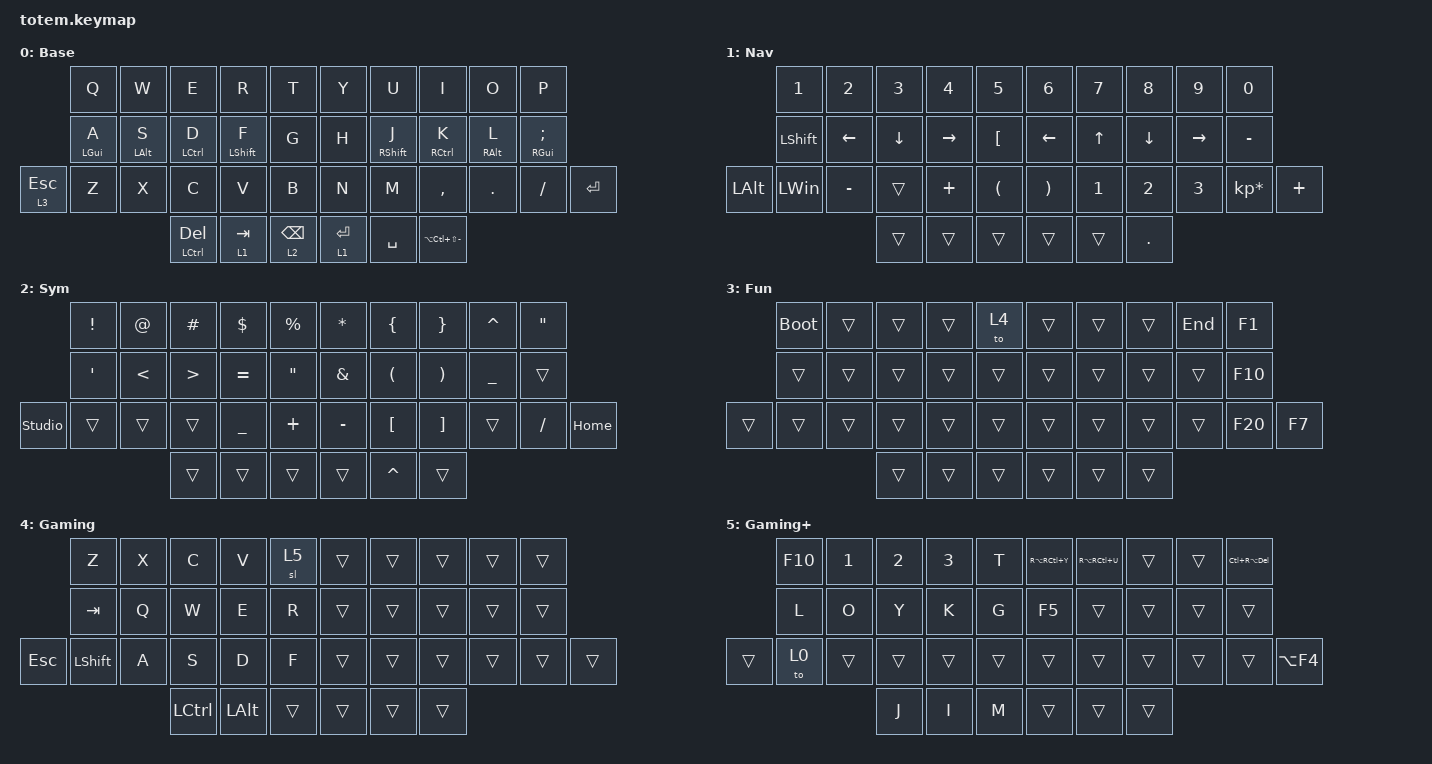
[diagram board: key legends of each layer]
//
//                                                        ▀▀▀▀▀     ▀▀▀▀▀          ▀▀█▀▀
//                                                        ▄▀▀▀▄  ▄  ▄▀▀▀▄  ▄  ▄▀▀▀▄  █  ▄▀▀▀▄
//                                                        █   █  █  █   █  █  █   █  █  █   █
//                                                         ▀▀▀   █   ▀▀▀   █   ▀▀▀   ▀   ▀▀▀
//                                                               █      ▄▄▄█▄▄▄    █   █  
//                                                               ▀      █  █  █     █▄█
//                                                             ▀▀▀▀▀    █  █  █      ▀
//                                                                      ▀  ▀  ▀
//
// ▄▄▄▄▄▄▄▄▄▄▄▄▄▄▄▄▄▄▄▄▄▄▄▄▄▄▄▄▄▄▄▄▄▄▄▄▄▄▄▄▄▄▄▄▄▄▄▄▄▄▄▄▄▄▄▄▄▄▄▄▄▄▄▄▄▄▄▄▄▄▄▄▄▄▄▄▄▄▄▄▄▄▄▄▄▄▄▄▄▄▄▄▄▄▄▄▄▄▄▄▄▄▄▄▄▄▄▄▄▄▄▄▄▄▄▄▄▄▄▄▄▄▄▄▄▄▄▄▄▄▄▄▄▄▄▄▄▄▄▄▄▄▄▄▄▄▄▄▄

#include <behaviors.dtsi>
#include <dt-bindings/zmk/keys.h>

#define Base        0
#define Nav         1
#define Sym         2
#define Fun         3
#define Game        4
#define Gameplus    5

&mt {
    quick-tap-ms = <100>;
    global-quick-tap;
    flavor = "tap-preferred";
    tapping-term-ms = <170>;
};

&lt {
    tapping-term-ms = <240>;
    flavor = "balanced";
    quick-tap-ms = <150>;
};

/ {
    behaviors {
        hm: homerow_mods {
            compatible = "zmk,behavior-hold-tap";
            label = "HOMEROW_MODS";
            #binding-cells = <2>;
            flavor = "tap-preferred";
            tapping-term-ms = <200>;
            quick-tap-ms = <125>;
            global-quick-tap;
            bindings = <&kp>, <&kp>;
        };
    };

    combos { compatible = "zmk,combos"; };

    keymap {
        compatible = "zmk,keymap";

        Base {
            display-name = "Base";
            bindings = <
              &kp Q       &kp W       &kp E          &kp R         &kp T              &kp Y        &kp U        &kp I                  &kp O       &kp P
              &hm LGUI A  &hm LALT S  &hm LCTRL D    &hm LSHIFT F  &kp G              &kp H        &hm RSHFT J  &hm RCTRL K            &hm RALT L  &hm RGUI SEMICOLON
&lt 3 ESCAPE  &kp Z       &kp X       &kp C          &kp V         &kp B              &kp N        &kp M        &kp COMMA              &kp DOT     &kp SLASH           &kp RET
                                      &mt LCTRL DEL  &lt 1 TAB     &lt 2 BACKSPACE    &lt 1 ENTER  &kp SPACE    &kp LA(LC(LS(MINUS)))
            >;
        };

        Nav {
            display-name = "Nav";
            bindings = <
              &kp N1          &kp N2     &kp N3    &kp N4     &kp N5      &kp N6    &kp NUMBER_7  &kp NUMBER_8  &kp NUMBER_9  &kp NUMBER_0
              &kp LEFT_SHIFT  &kp LEFT   &kp DOWN  &kp RIGHT  &kp LBKT    &kp LEFT  &kp UP        &kp DOWN      &kp RIGHT     &kp MINUS
&kp LEFT_ALT  &kp LEFT_WIN    &kp MINUS  &trans    &kp PLUS   &kp LPAR    &kp RPAR  &kp NUMBER_1  &kp NUMBER_2  &kp NUMBER_3  &kp KP_MULTIPLY  &kp PLUS
                                         &trans    &trans     &trans      &trans    &trans        &kp DOT
            >;
        };

        Sym {
            display-name = "Sym";
            bindings = <
                &kp EXCL          &kp AT         &kp HASH          &kp DOLLAR  &kp PERCENT          &kp ASTERISK   &kp LEFT_BRACE        &kp RIGHT_BRACE        &kp CARET       &kp DQT
                &kp SINGLE_QUOTE  &kp LESS_THAN  &kp GREATER_THAN  &kp EQUAL   &kp DOUBLE_QUOTES    &kp AMPERSAND  &kp LEFT_PARENTHESIS  &kp RIGHT_PARENTHESIS  &kp UNDERSCORE  &trans
&studio_unlock  &trans            &trans         &trans            &kp UNDER   &kp PLUS             &kp MINUS      &kp LEFT_BRACKET      &kp RIGHT_BRACKET      &trans          &kp SLASH  &kp HOME
                                                 &trans            &trans      &trans               &trans         &kp CARET             &trans
            >;
        };

        Fun {
            display-name = "Fun";
            bindings = <
        &bootloader  &trans  &trans  &trans  &to 4     &trans  &trans  &trans  &kp END  &kp F1
        &trans       &trans  &trans  &trans  &trans    &trans  &trans  &trans  &trans   &kp F10
&trans  &trans       &trans  &trans  &trans  &trans    &trans  &trans  &trans  &trans   &kp F20  &kp F7
                             &trans  &trans  &trans    &trans  &trans  &trans
            >;
        };

        Gaming {
            display-name = "Gaming";
            bindings = <
            &kp Z           &kp X  &kp C      &kp V         &sl 5     &trans  &trans  &trans  &trans  &trans
            &kp TAB         &kp Q  &kp W      &kp E         &kp R     &trans  &trans  &trans  &trans  &trans
&kp ESCAPE  &kp LEFT_SHIFT  &kp A  &kp S      &kp D         &kp F     &trans  &trans  &trans  &trans  &trans  &trans
                                   &kp LCTRL  &kp LEFT_ALT  &trans    &trans  &trans  &trans
            >;
        };

        Gaming+ {
            display-name = "Gaming+";
            bindings = <
        &kp F10  &kp NUMBER_1  &kp NUMBER_2  &kp NUMBER_3  &kp T     &kp RA(RC(Y))  &kp RA(RC(U))  &trans  &trans  &kp LC(RA(DEL))
        &kp L    &kp O         &kp Y         &kp K         &kp G     &kp F5         &trans         &trans  &trans  &trans
&trans  &to 0    &trans        &trans        &trans        &trans    &trans         &trans         &trans  &trans  &trans           &kp LA(F4)
                               &kp J         &kp I         &kp M     &trans         &trans         &trans
            >;
        };
    };
};
